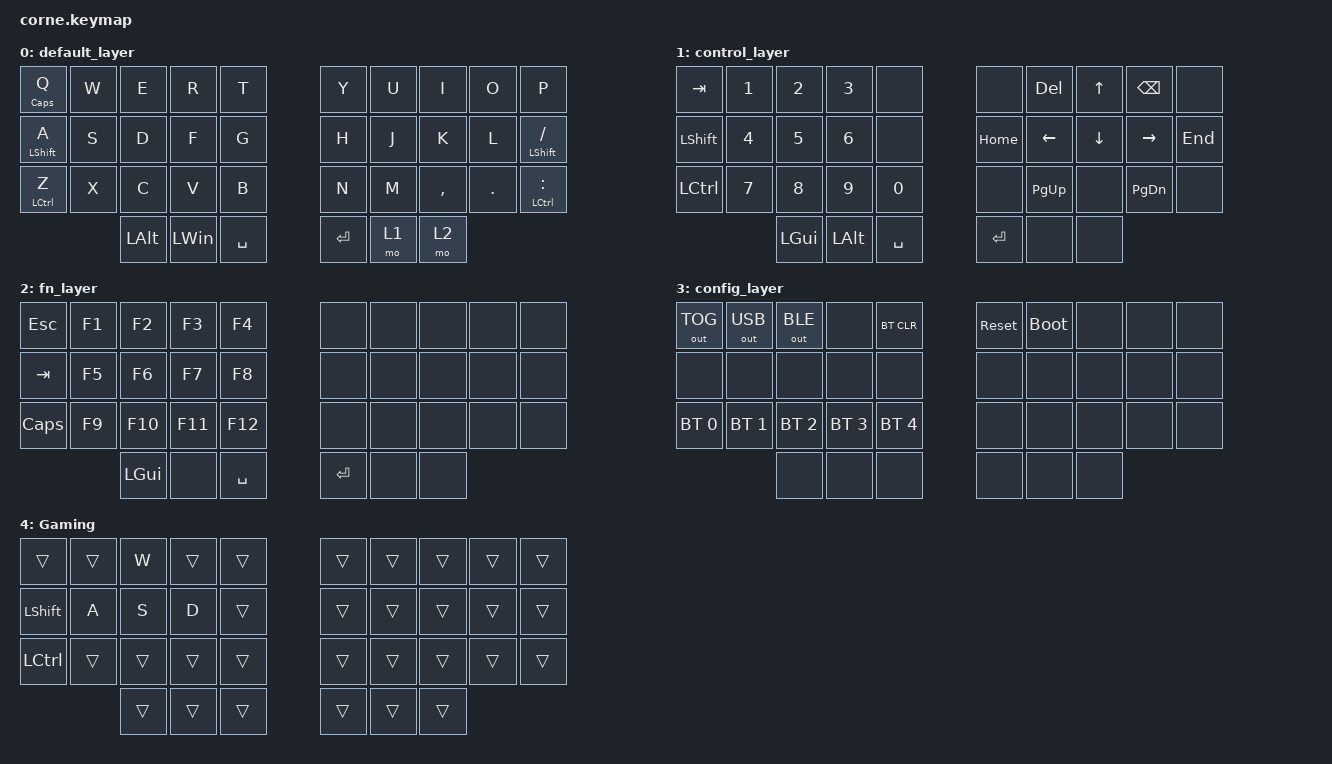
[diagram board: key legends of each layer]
/*
 * Copyright (c) 2020 The ZMK Contributors
 *
 * SPDX-License-Identifier: MIT
 */

#include <behaviors.dtsi>
#include <dt-bindings/zmk/bt.h>
#include <dt-bindings/zmk/keys.h>
#include <dt-bindings/zmk/outputs.h>

/ {
    chosen { zmk,matrix_transform = &five_column_transform; };
};

/ {
    combos {
        compatible = "zmk,combos";

        lang-switch {
            bindings = <&kp LG(SPACE)>;
            key-positions = <31 32>;
            layers = <0>;
            timeout-ms = <50>;
        };

        toggle-config-layer {
            bindings = <&mo 3>;
            key-positions = <31 30 34 35>;
        };

        comma-dot-semi {
            bindings = <&kp SEMI>;
            key-positions = <27 28>;
            layers = <0>;
        };

        toggle-gaming-layer {
            bindings = <&none>;
            key-positions = <34 35>;
        };
    };

    macros {
        at_alt_code: at_alt_code {
            label = "AT_ALT_CODE";
            compatible = "zmk,behavior-macro";
            #binding-cells = <0>;
            wait-ms = <40>;
            tap-ms = <40>;
            bindings =
                <&macro_press>,
                <&kp LALT>,
                <&macro_tap>,
                <&kp KP_N0 &kp KP_N6 &kp KP_N4>,
                <&macro_release>,
                <&kp LALT>;
        };
    };

    keymap {
        compatible = "zmk,keymap";

        default_layer {
            bindings = <
  &mt CAPSLOCK Q  &kp W  &kp E         &kp R         &kp T        &kp Y    &kp U  &kp I      &kp O    &kp P
  &mt LSHIFT A    &kp S  &kp D         &kp F         &kp G        &kp H    &kp J  &kp K      &kp L    &mt LEFT_SHIFT SLASH
  &mt LCTRL Z     &kp X  &kp C         &kp V         &kp B        &kp N    &kp M  &kp COMMA  &kp DOT  &mt LCTRL COLON
                         &kp LEFT_ALT  &kp LEFT_WIN  &kp SPACE    &kp RET  &mo 1  &mo 2
            >;
        };

        control_layer {
            bindings = <
  &kp TAB         &kp N1  &kp N2        &kp N3    &none        &none     &kp DELETE      &kp UP_ARROW  &kp BACKSPACE  &none
  &kp LEFT_SHIFT  &kp N4  &kp N5        &kp N6    &none        &kp HOME  &kp LEFT_ARROW  &kp DOWN      &kp RIGHT      &kp END
  &kp LCTRL       &kp N7  &kp N8        &kp N9    &kp N0       &none     &kp PAGE_UP     &none         &kp PAGE_DOWN  &none
                          &kp LEFT_GUI  &kp LALT  &kp SPACE    &kp RET   &none           &none
            >;
        };

        fn_layer {
            bindings = <
  &kp ESCAPE    &kp F1  &kp F2    &kp F3   &kp F4       &none      &none  &none  &none  &none
  &kp TAB       &kp F5  &kp F6    &kp F7   &kp F8       &none      &none  &none  &none  &none
  &kp CAPSLOCK  &kp F9  &kp F10   &kp F11  &kp F12      &none      &none  &none  &none  &none
                        &kp LGUI  &none    &kp SPACE    &kp ENTER  &none  &none
            >;
        };

        config_layer {
            bindings = <
  &out OUT_TOG  &out OUT_USB  &out OUT_BLE  &none         &bt BT_CLR      &sys_reset  &bootloader  &none  &none  &none
  &none         &none         &none         &none         &none           &none       &none        &none  &none  &none
  &bt BT_SEL 0  &bt BT_SEL 1  &bt BT_SEL 2  &bt BT_SEL 3  &bt BT_SEL 4    &none       &none        &none  &none  &none
                              &none         &none         &none           &none       &none        &none
            >;
        };

        Gaming {
            bindings = <
  &trans            &trans  &kp W   &trans  &trans    &trans  &trans  &trans  &trans  &trans
  &kp LEFT_SHIFT    &kp A   &kp S   &kp D   &trans    &trans  &trans  &trans  &trans  &trans
  &kp LEFT_CONTROL  &trans  &trans  &trans  &trans    &trans  &trans  &trans  &trans  &trans
                            &trans  &trans  &trans    &trans  &trans  &trans
            >;
        };
    };

    conditional_layers { compatible = "zmk,conditional-layers"; };
};
